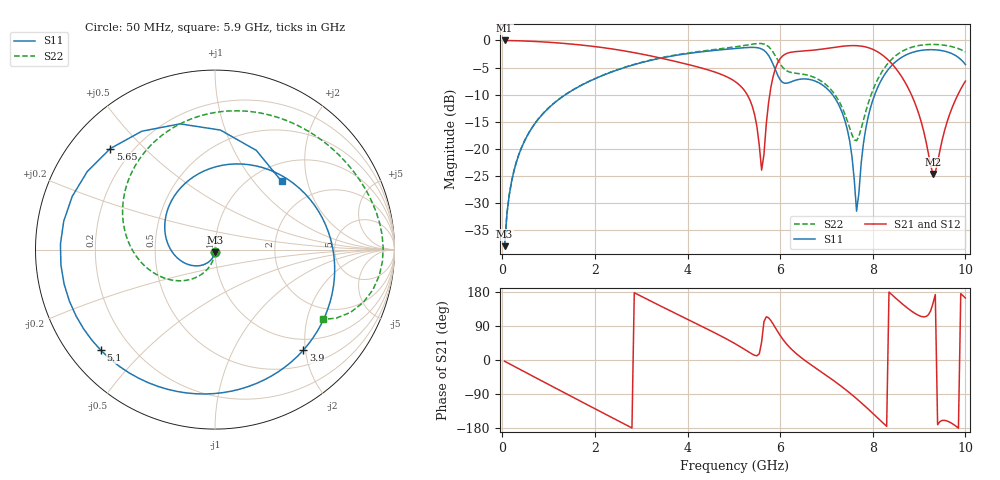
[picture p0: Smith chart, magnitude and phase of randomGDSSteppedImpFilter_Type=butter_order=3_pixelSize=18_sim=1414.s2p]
! freq	dB(S11)	phase(S11)	dB(S12)	phase(S12)
!  dB(S21)	phase(S21)	dB(S22)	phase(S22)
!S-par simulation data
#  GHz  S  DB  R 50
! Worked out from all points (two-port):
!   200 points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, 50 MHz to 10 GHz, reference 50 ohm
!   highest |S21| = -0.01 dB at 50 MHz (marker M1); lowest = -24.6 dB at 9.3 GHz (marker M2)
!   |S21| within 3 dB of the highest: start of sweep to 3.287 GHz; 6.036 GHz to 8.254 GHz (2.218 GHz wide, 31 % of centre)
!   lowest |S11| = -37.9 dB at 50 MHz (marker M3), VSWR 1.03, Z = 49.9 - j1.27 ohm
!   |S11| at or under -10 dB: start of sweep to 1.365 GHz; 7.129 GHz to 8.043 GHz (913.3 MHz wide, 12 % of centre)
!   |S22| runs from -37.9 to -0.6 dB; largest |S21 - S12| = 0
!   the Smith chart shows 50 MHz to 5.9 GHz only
!   S11 on the Smith chart (normalised r, x): 50 MHz: 1.00, -0.03; 3.9 GHz: 0.78, -1.96; 5.1 GHz: 0.09, -0.37; 5.65 GHz: 0.12, +0.40; 5.9 GHz: 1.33, +1.41
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0.05  -37.93 -93.2  -0.01 -3.3  -0.01 -3.3  -37.91 -91.0
0.2  -26.02 -107.2  -0.03 -13.1  -0.03 -13.1  -25.99 -98.8
0.5  -18.21 -133.4  -0.11 -32.5  -0.11 -32.5  -18.16 -112.4
1.75  -8.08 118.8  -0.89 -112.7  -0.89 -112.7  -8.05 -165.7
2.55  -5.25 51.8  -1.81 -163.6  -1.81 -163.6  -5.21 159.6
3.4  -3.30 -13.4  -3.22 143.6  -3.22 143.6  -3.24 119.4
3.9  -2.55 -48.7  -4.20 113.3  -4.20 113.3  -2.46 94.6
5.05  -1.47 -133.9  -7.72 41.4  -7.72 41.4  -1.17 34.7
5.1  -1.43 -138.6  -8.06 37.8  -8.06 37.8  -1.10 31.8
5.45  -1.29 178.0  -13.73 12.3  -13.73 12.3  -0.64 9.0
5.65  -1.82 136.0  -21.04 101.2  -21.04 101.2  -0.66 -9.0
5.9  -5.49 45.7  -5.09 84.4  -5.09 84.4  -2.92 -33.0
6.2  -7.75 -74.8  -2.24 33.9  -2.24 33.9  -5.82 -34.9
6.7  -7.33 -159.8  -1.81 -15.6  -1.81 -15.6  -6.69 -47.3
7.35  -13.54 123.3  -1.08 -72.2  -1.08 -72.2  -12.60 -69.5
7.65  -31.47 20.2  -0.97 -102.1  -0.97 -102.1  -18.47 -25.5
7.9  -14.13 -114.9  -1.33 -129.3  -1.33 -129.3  -11.63 11.1
8.35  -5.20 173.3  -3.75 179.2  -3.75 179.2  -4.01 -10.2
8.85  -2.23 96.6  -10.31 128.0  -10.31 128.0  -1.23 -43.6
9.3  -1.71 31.3  -24.62 149.4  -24.62 149.4  -0.74 -69.3
9.65  -2.24 -19.5  -13.85 -163.4  -13.85 -163.4  -1.04 -86.7
10  -4.44 -81.1  -7.50 163.6  -7.50 163.6  -2.12 -101.8
